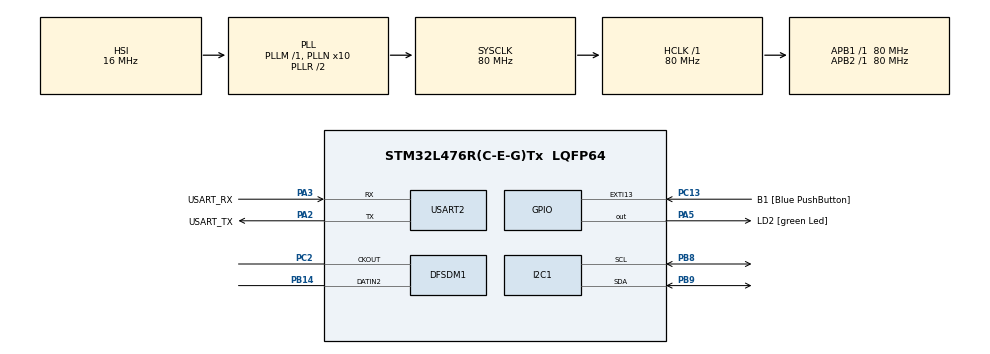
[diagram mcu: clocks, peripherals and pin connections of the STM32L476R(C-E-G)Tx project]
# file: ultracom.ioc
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DFSDM1.Divider=25
DFSDM1.DmaMode_reg_FIL0=ENABLE
DFSDM1.DmaMode_reg_FIL2=ENABLE
DFSDM1.FastMode_reg_FIL0=ENABLE
DFSDM1.FastMode_reg_FIL2=ENABLE
DFSDM1.Filter_regChannel_FIL0=DFSDM_CHANNEL_2
DFSDM1.Filter_regChannel_FIL1=__NULL
DFSDM1.Filter_regChannel_FIL2=DFSDM_CHANNEL_2
DFSDM1.Fosr_FIL0=32
DFSDM1.Fosr_FIL2=32
DFSDM1.Oversampling_CH1=10
DFSDM1.Oversampling_CH2=10
DFSDM1.RightBitShift_CH1=0x02
DFSDM1.RightBitShift_CH2=0x02
DFSDM1.SincOrder_FIL0=DFSDM_FILTER_SINC3_ORDER
DFSDM1.SincOrder_FIL2=DFSDM_FILTER_SINC3_ORDER
DFSDM1.Type_spi_CH1=DFSDM_CHANNEL_SPI_FALLING
Dma.DFSDM1_FLT0.0.Direction=DMA_PERIPH_TO_MEMORY
Dma.DFSDM1_FLT0.0.Instance=DMA1_Channel4
Dma.DFSDM1_FLT0.0.MemDataAlignment=DMA_MDATAALIGN_WORD
Dma.DFSDM1_FLT0.0.MemInc=DMA_MINC_ENABLE
Dma.DFSDM1_FLT0.0.Mode=DMA_CIRCULAR
Dma.DFSDM1_FLT0.0.PeriphDataAlignment=DMA_PDATAALIGN_WORD
Dma.DFSDM1_FLT0.0.PeriphInc=DMA_PINC_DISABLE
Dma.DFSDM1_FLT0.0.Priority=DMA_PRIORITY_MEDIUM
Dma.DFSDM1_FLT2.1.Direction=DMA_PERIPH_TO_MEMORY
Dma.DFSDM1_FLT2.1.Instance=DMA1_Channel6
Dma.DFSDM1_FLT2.1.MemDataAlignment=DMA_MDATAALIGN_WORD
Dma.DFSDM1_FLT2.1.MemInc=DMA_MINC_ENABLE
Dma.DFSDM1_FLT2.1.Mode=DMA_CIRCULAR
Dma.DFSDM1_FLT2.1.PeriphDataAlignment=DMA_PDATAALIGN_WORD
Dma.DFSDM1_FLT2.1.PeriphInc=DMA_PINC_DISABLE
Dma.DFSDM1_FLT2.1.Priority=DMA_PRIORITY_MEDIUM
Dma.Request0=DFSDM1_FLT0
Dma.Request1=DFSDM1_FLT2
Mcu.Family=STM32L4
Mcu.Name=STM32L476R(C-E-G)Tx
Mcu.Package=LQFP64
NVIC.DMA1_Channel4_IRQn=true\:0\:0\:false\:false\:true\:false
NVIC.DMA1_Channel6_IRQn=true\:0\:0\:false\:false\:true\:false
NVIC.EXTI15_10_IRQn=true\:0\:0\:false\:false\:true\:true
NVIC.PriorityGroup=NVIC_PRIORITYGROUP_4
PA13\ (JTMS-SWDIO).GPIO_Label=TMS
PA13\ (JTMS-SWDIO).Mode=Serial_Wire
PA13\ (JTMS-SWDIO).Signal=SYS_JTMS-SWDIO
PA14\ (JTCK-SWCLK).GPIO_Label=TCK
PA14\ (JTCK-SWCLK).Mode=Serial_Wire
PA14\ (JTCK-SWCLK).Signal=SYS_JTCK-SWCLK
PA2.GPIO_Label=USART_TX
PA2.GPIO_Mode=GPIO_MODE_AF_PP
PA2.GPIO_PuPd=GPIO_NOPULL
PA2.GPIO_Speed=GPIO_SPEED_FREQ_VERY_HIGH
PA2.Mode=Asynchronous
PA2.Signal=USART2_TX
PA3.GPIO_Label=USART_RX
PA3.GPIO_Mode=GPIO_MODE_AF_PP
PA3.GPIO_PuPd=GPIO_NOPULL
PA3.GPIO_Speed=GPIO_SPEED_FREQ_VERY_HIGH
PA3.Mode=Asynchronous
PA3.Signal=USART2_RX
PA5.GPIO_Label=LD2 [green Led]
PA5.GPIO_ModeDefaultOutputPP=GPIO_MODE_OUTPUT_PP
PA5.GPIO_PuPd=GPIO_NOPULL
PA5.GPIO_Speed=GPIO_SPEED_FREQ_LOW
PA5.Signal=GPIO_Output
PB14.Signal=S_DATAIN2DFSDM1
PB3\ (JTDO-TRACESWO).GPIO_Label=SWO
PB3\ (JTDO-TRACESWO).Signal=SYS_JTDO-SWO
PB8.Mode=I2C
PB8.Signal=I2C1_SCL
PB9.Mode=I2C
PB9.Signal=I2C1_SDA
PC13.GPIO_Label=B1 [Blue PushButton]
PC13.GPIO_ModeDefaultEXTI=GPIO_MODE_IT_FALLING
PC13.GPIO_PuPd=GPIO_NOPULL
PC13.Signal=GPXTI13
PC14-OSC32_IN\ (PC14).Signal=RCC_OSC32_IN
PC15-OSC32_OUT\ (PC15).Signal=RCC_OSC32_OUT
PC2.Signal=S_CKOUTDFSDM1
PH0-OSC_IN\ (PH0).Signal=RCC_OSC_IN
PH1-OSC_OUT\ (PH1).Signal=RCC_OSC_OUT
ProjectManager.HeapSize=0x200
ProjectManager.StackSize=0x400
ProjectManager.TargetToolchain=TrueSTUDIO
RCC.ADCFreq_Value=64000000
RCC.AHBFreq_Value=80000000
RCC.APB1Freq_Value=80000000
RCC.APB1TimFreq_Value=80000000
RCC.APB2Freq_Value=80000000
RCC.APB2TimFreq_Value=80000000
RCC.CortexFreq_Value=80000000
RCC.HCLKFreq_Value=80000000
RCC.HSE_VALUE=8000000
RCC.HSI_VALUE=16000000
RCC.LSE_VALUE=32768
RCC.MSI_VALUE=4000000
RCC.PLLN=10
RCC.PLLSourceVirtual=RCC_PLLSOURCE_HSI
RCC.PREFETCH_ENABLE=1
RCC.SYSCLKFreq_VALUE=80000000
RCC.SYSCLKSource=RCC_SYSCLKSOURCE_PLLCLK
RCC.USBFreq_Value=64000000
RCC.VCOOutputFreq_Value=160000000
SH.S_CKOUTDFSDM1.0=DFSDM1_CKOUT,PDM_SPI_input_from_ch2_and_internal_clock
SH.S_CKOUTDFSDM1.1=DFSDM1_CKOUT,CKOUT
SH.S_CKOUTDFSDM1.2=DFSDM1_CKOUT,PDM_SPI_Input_from_ch12_and_Internal_Clock
SH.S_DATAIN2DFSDM1.0=DFSDM1_DATIN2,PDM_SPI_input_from_ch2_and_internal_clock
SH.S_DATAIN2DFSDM1.1=DFSDM1_DATIN2,PDM_SPI_Input_from_ch12_and_Internal_Clock
USART2.VirtualMode-Asynchronous=VM_ASYNC
USART2.WordLength=WORDLENGTH_8B
board=NUCLEO-L476RG

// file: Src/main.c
/**
  ******************************************************************************
  * @file           : main.c
  * @brief          : Main program body
  ******************************************************************************
  ** This notice applies to any and all portions of this file
  * that are not between comment pairs USER CODE BEGIN and
  * USER CODE END. Other portions of this file, whether
  * inserted by the user or by software development tools
  * are owned by their respective copyright owners.
  *
  * COPYRIGHT(c) 2018 STMicroelectronics
  *
  * Redistribution and use in source and binary forms, with or without modification,
  * are permitted provided that the following conditions are met:
  *   1. Redistributions of source code must retain the above copyright notice,
  *      this list of conditions and the following disclaimer.
  *   2. Redistributions in binary form must reproduce the above copyright notice,
  *      this list of conditions and the following disclaimer in the documentation
  *      and/or other materials provided with the distribution.
  *   3. Neither the name of STMicroelectronics nor the names of its contributors
  *      may be used to endorse or promote products derived from this software
  *      without specific prior written permission.
  *
  * THIS SOFTWARE IS PROVIDED BY THE COPYRIGHT HOLDERS AND CONTRIBUTORS "AS IS"
  * AND ANY EXPRESS OR IMPLIED WARRANTIES, INCLUDING, BUT NOT LIMITED TO, THE
  * IMPLIED WARRANTIES OF MERCHANTABILITY AND FITNESS FOR A PARTICULAR PURPOSE ARE
  * DISCLAIMED. IN NO EVENT SHALL THE COPYRIGHT HOLDER OR CONTRIBUTORS BE LIABLE
  * FOR ANY DIRECT, INDIRECT, INCIDENTAL, SPECIAL, EXEMPLARY, OR CONSEQUENTIAL
  * DAMAGES (INCLUDING, BUT NOT LIMITED TO, PROCUREMENT OF SUBSTITUTE GOODS OR
  * SERVICES; LOSS OF USE, DATA, OR PROFITS; OR BUSINESS INTERRUPTION) HOWEVER
  * CAUSED AND ON ANY THEORY OF LIABILITY, WHETHER IN CONTRACT, STRICT LIABILITY,
  * OR TORT (INCLUDING NEGLIGENCE OR OTHERWISE) ARISING IN ANY WAY OUT OF THE USE
  * OF THIS SOFTWARE, EVEN IF ADVISED OF THE POSSIBILITY OF SUCH DAMAGE.
  *
  ******************************************************************************
  */
#include "main.h"
#include "stm32l4xx_hal.h"
#include "dfsdm.h"
#include "dma.h"
#include "i2c.h"
#include "usart.h"
#include "gpio.h"

/* USER CODE BEGIN Includes */
#include "math.h"
#include "stdbool.h"
#include "stdlib.h"
#include "arm_math.h"
#include "lcd.h"
/* USER CODE END Includes */

/* USER CODE BEGIN PV */
/* Private variables ---------------------------------------------------------*/

// Flags to indicate ISR to copy data from buffer to PCM data store for FFT
char M1[] = "M1";  // MEMS mic 1
char M2[] = "M2";  // MEMS mic 2

char *mic_select;
bool flag_m1 = true;
bool flag_m2 = true;

// Audio sample rate and period
float sampling_rate;
float sampling_period;

// DMA peripheral to memory buffer
int32_t buf[PCM_SAMPLES] = { 0 };
int32_t buf_m2[PCM_SAMPLES] = { 0 };

// PCM data store for further processing (FFT)
int32_t pcm[PCM_SAMPLES] = { 0 };
int32_t pcm_m2[PCM_SAMPLES] = { 0 };

// FFT
arm_rfft_fast_instance_f32 S;

// Ultrasonic communication
typedef struct {
  uint8_t data;
  float magnitude;
  float frequency;
} Result;

uint16_t symbols[] = {
HEX_0, HEX_1, HEX_2, HEX_3, HEX_4, HEX_5, HEX_6, HEX_7,
HEX_8, HEX_9, HEX_A, HEX_B, HEX_C, HEX_D, HEX_E, HEX_F };

/* USER CODE END PV */

void SystemClock_Config(void);

/* USER CODE BEGIN PFP */
/* Private function prototypes -----------------------------------------------*/

/* USER CODE END PFP */

/* USER CODE BEGIN 0 */

/**
 * @brief  FFT to frequency at max magnitude
 * @param
 * @retval result including max frequency and max magnitude.
 */
void fft(float *input, float *output, float *window, float *magnitude,
    float *frequency, Result *result) {

  // Windowing
  arm_mult_f32(input, window, input, PCM_SAMPLES);

  // Execute FFT
  arm_rfft_fast_f32(&S, input, output, 0);

  // Calculate magnitude
  arm_cmplx_mag_f32(output, magnitude, PCM_SAMPLES / 2);

  // Normalization (Unitary transformation) of magnitude
  arm_scale_f32(magnitude, 1.0f / sqrtf((float) PCM_SAMPLES), magnitude,
  PCM_SAMPLES / 2);

  // Calculate max magnitude
  //arm_max_f32(magnitude, FFT_SAMPLES / 2, &mag_max, &maxIndex);
  bool found = false;
  uint16_t i, j;
  for (j = START_OF_FRAME - TOLERANCE; j <= START_OF_FRAME + TOLERANCE; j++) {
    if (magnitude[j] > MAGNITUDE_THRESHOLD) {
      found = true;
      result->data = START_OF_FRAME_CODE;
      result->magnitude = magnitude[j];
      result->frequency = frequency[j + 1];
      break;
    }
  }
  if (!found) {
    for (j = END_OF_FRAME - TOLERANCE; j <= END_OF_FRAME + TOLERANCE; j++) {
      if (magnitude[j] > MAGNITUDE_THRESHOLD) {
        found = true;
        result->data = END_OF_FRAME_CODE;
        result->magnitude = magnitude[j];
        result->frequency = frequency[j + 1];
        break;
      }
    }
  }
  if (!found) {
    for (i = 0; i < 16; i++) {
      for (j = symbols[i] - TOLERANCE; j <= symbols[i] + TOLERANCE; j++) {
        if (magnitude[j] > MAGNITUDE_THRESHOLD) {
          found = true;
          result->data = i;
          result->magnitude = magnitude[j];
          result->frequency = frequency[j + 1];
          break;
        }
      }
      if (found) {
        break;
      }
    }
  }
  if (!found) {
    result->data = NOT_FOUND_CODE;
  }

}
/**
 * @brief  Parse fft result to output received data in ASCII to USART and LCD
 * @param  result
 * @retval
 */
void parser(Result *result) {

  bool output_result = false;
  static enum {
    IDLE, DATA_MSB, DATA_LSB
  } recv_state = IDLE;

  uint8_t data;
  static uint8_t hex_data_n = NOT_FOUND_CODE;
  static uint8_t data_cnt = 0;
  static uint8_t data_msb = 0;
  uint8_t data_char[1] = { '\0' };

  data = result -> data;
  // Convert frequency to hex data
  if (data != hex_data_n) {
    data_cnt = 0;
    hex_data_n = data;
  } else if (data_cnt == TQ_N) {
    // No operation
  } else if (++data_cnt == TQ_N && hex_data_n != NOT_FOUND_CODE) {
    output_result = true;
  }

  if (output_result) {
    /*
    printf("\nMEMS mic: %s\n", mic_select);
    */
    printf("Frequency: %ld, Magnitude: %ld\n", (uint32_t)result->frequency,
        (uint32_t)result->magnitude);

    switch (hex_data_n) {
    case START_OF_FRAME_CODE:
      printf("START OF FRAME\n");
      lcd_clear();
      recv_state = DATA_MSB;
      break;
    case END_OF_FRAME_CODE:
      printf("END OF FRAME\n");
      recv_state = IDLE;
      break;
    default:
      if (recv_state == DATA_MSB) {
        data_msb = hex_data_n << 4;
        recv_state = DATA_LSB;
      } else if (recv_state == DATA_LSB) {
        printf("Data: %c\n", data_msb + hex_data_n);
        data_char[0] = data_msb + hex_data_n;
        lcd_string(data_char, 1);
        data_msb = 0;
        recv_state = DATA_MSB;
      }
      break;
    }
    //printf("[%d]\n", hex_data_n);
    HAL_GPIO_TogglePin(LD2_GPIO_Port, LD2_Pin);
    output_result = false;
  }
}
/* USER CODE END 0 */

int main(void)
{
  /* USER CODE BEGIN 1 */
  float fft_input[PCM_SAMPLES] = { 0.0f };
  float fft_output[PCM_SAMPLES] = { 0.0f };
  float fft_frequency[PCM_SAMPLES / 2] = { 0.0f };
  float fft_magnitude[PCM_SAMPLES / 2] = { 0.0f };
  float fft_window[PCM_SAMPLES] = { 0.0f };
  const float WINDOW_SCALE = 2.0f * M_PI / (float) PCM_SAMPLES;

  Result result;
  /* USER CODE END 1 */

  /* MCU Configuration----------------------------------------------------------*/

  /* Reset of all peripherals, Initializes the Flash interface and the Systick. */
  HAL_Init();

  /* Configure the system clock */
  SystemClock_Config();

  /* Initialize all configured peripherals */
  MX_GPIO_Init();
  MX_DMA_Init();
  MX_USART2_UART_Init();
  MX_DFSDM1_Init();
  MX_I2C1_Init();
  /* USER CODE BEGIN 2 */

  // DMA from DFSDM to buf_m1
  if (HAL_DFSDM_FilterRegularStart_DMA(&hdfsdm1_filter0, buf, PCM_SAMPLES)
      != HAL_OK) {
    Error_Handler();
  }

  // DMA from DFSDM to buf_m2
  if (HAL_DFSDM_FilterRegularStart_DMA(&hdfsdm1_filter2, buf_m2, PCM_SAMPLES)
      != HAL_OK) {
    Error_Handler();
  }

  // FFT sample rate
  sampling_rate = SystemCoreClock / hdfsdm1_channel2.Init.OutputClock.Divider
      / hdfsdm1_filter0.Init.FilterParam.Oversampling
      / hdfsdm1_filter0.Init.FilterParam.IntOversampling;

  // Output basic info
  printf("/// Ultrasonic communication receiver ///\n\n");
  printf("Sampling rate: %4.1f(kHz)\n", (float) sampling_rate / 1000.0f);
  sampling_period = 1.0f / sampling_rate * PCM_SAMPLES;
  printf("Sampling period: %.1f(msec), Samples per period: %ld\n\n",
      sampling_period * 1000.0f, PCM_SAMPLES);
  lcd_init(&hi2c1);
  lcd_string((uint8_t*)"Ultrasonic", 10);

  // Hanning window
  for (uint32_t i = 0; i < PCM_SAMPLES; i++) {
    fft_window[i] = 0.5f - 0.5f * arm_cos_f32((float) i * WINDOW_SCALE);
  }

  for (uint32_t i = 0; i < PCM_SAMPLES / 2; i++) {
    fft_frequency[i] = (float) i * (float) sampling_rate / (float) PCM_SAMPLES;
  }

  // FFT initialization
  arm_rfft_fast_init_f32(&S, PCM_SAMPLES);
  /* USER CODE END 2 */

  /* Infinite loop */
  /* USER CODE BEGIN WHILE */
  while (1) {

    // Wait for next PCM samples from M1
    if (!flag_m1) {
      for (uint32_t i = 0; i < PCM_SAMPLES; i++) {
        fft_input[i] = (float) pcm[i];
      }
      mic_select = M1;
      fft(fft_input, fft_output, fft_window, fft_magnitude, fft_frequency,
          &result);
      parser(&result);
      flag_m1 = true;
    }

    // Wait for next PCM samples from M2
    if (!flag_m2) {
      /*
      for (uint32_t i = 0; i < FFT_SAMPLES; i++) {
        fft_input[i] = (float) pcm_m2[i];
      }
      mic_select = M2;
      fft(fft_input, fft_output, fft_window, fft_magnitude, fft_frequency,
          &result);
      parser(&result);
      */
      flag_m2 = true;
    }

  /* USER CODE END WHILE */

  }

}

void SystemClock_Config(void)
{

  RCC_OscInitTypeDef RCC_OscInitStruct;
  RCC_ClkInitTypeDef RCC_ClkInitStruct;
  RCC_PeriphCLKInitTypeDef PeriphClkInit;

    /**Initializes the CPU, AHB and APB busses clocks
    */
  RCC_OscInitStruct.OscillatorType = RCC_OSCILLATORTYPE_HSI;
  RCC_OscInitStruct.HSIState = RCC_HSI_ON;
  RCC_OscInitStruct.HSICalibrationValue = 16;
  RCC_OscInitStruct.PLL.PLLState = RCC_PLL_ON;
  RCC_OscInitStruct.PLL.PLLSource = RCC_PLLSOURCE_HSI;
  RCC_OscInitStruct.PLL.PLLM = 1;
  RCC_OscInitStruct.PLL.PLLN = 10;
  RCC_OscInitStruct.PLL.PLLP = RCC_PLLP_DIV7;
  RCC_OscInitStruct.PLL.PLLQ = RCC_PLLQ_DIV2;
  RCC_OscInitStruct.PLL.PLLR = RCC_PLLR_DIV2;
  if (HAL_RCC_OscConfig(&RCC_OscInitStruct) != HAL_OK)
  {
    _Error_Handler(__FILE__, __LINE__);
  }

    /**Initializes the CPU, AHB and APB busses clocks
    */
  RCC_ClkInitStruct.ClockType = RCC_CLOCKTYPE_HCLK|RCC_CLOCKTYPE_SYSCLK
                              |RCC_CLOCKTYPE_PCLK1|RCC_CLOCKTYPE_PCLK2;
  RCC_ClkInitStruct.SYSCLKSource = RCC_SYSCLKSOURCE_PLLCLK;
  RCC_ClkInitStruct.AHBCLKDivider = RCC_SYSCLK_DIV1;
  RCC_ClkInitStruct.APB1CLKDivider = RCC_HCLK_DIV1;
  RCC_ClkInitStruct.APB2CLKDivider = RCC_HCLK_DIV1;

  if (HAL_RCC_ClockConfig(&RCC_ClkInitStruct, FLASH_LATENCY_4) != HAL_OK)
  {
    _Error_Handler(__FILE__, __LINE__);
  }

  PeriphClkInit.PeriphClockSelection = RCC_PERIPHCLK_USART2|RCC_PERIPHCLK_I2C1
                              |RCC_PERIPHCLK_DFSDM1;
  PeriphClkInit.Usart2ClockSelection = RCC_USART2CLKSOURCE_PCLK1;
  PeriphClkInit.I2c1ClockSelection = RCC_I2C1CLKSOURCE_PCLK1;
  PeriphClkInit.Dfsdm1ClockSelection = RCC_DFSDM1CLKSOURCE_PCLK;
  if (HAL_RCCEx_PeriphCLKConfig(&PeriphClkInit) != HAL_OK)
  {
    _Error_Handler(__FILE__, __LINE__);
  }

    /**Configure the main internal regulator output voltage
    */
  if (HAL_PWREx_ControlVoltageScaling(PWR_REGULATOR_VOLTAGE_SCALE1) != HAL_OK)
  {
    _Error_Handler(__FILE__, __LINE__);
  }

    /**Configure the Systick interrupt time
    */
  HAL_SYSTICK_Config(HAL_RCC_GetHCLKFreq()/1000);

    /**Configure the Systick
    */
  HAL_SYSTICK_CLKSourceConfig(SYSTICK_CLKSOURCE_HCLK);

  /* SysTick_IRQn interrupt configuration */
  HAL_NVIC_SetPriority(SysTick_IRQn, 0, 0);
}

/* USER CODE BEGIN 4 */

/**
 * @brief  Half regular conversion complete callback.
 * @param  hdfsdm_filter : DFSDM filter handle.
 * @retval None
 */
void HAL_DFSDM_FilterRegConvHalfCpltCallback(
    DFSDM_Filter_HandleTypeDef *hdfsdm_filter) {
  //
}

/**
 * @brief  Regular conversion complete callback.
 * @note   In interrupt mode, user has to read conversion value in this function
 using HAL_DFSDM_FilterGetRegularValue.
 * @param  hdfsdm_filter : DFSDM filter handle.
 * @retval None
 */
void HAL_DFSDM_FilterRegConvCpltCallback(
    DFSDM_Filter_HandleTypeDef *hdfsdm_filter) {
  // uint32_t start = FFT_SAMPLES / 2;
  uint32_t start = 0;
  if (flag_m1 && (hdfsdm_filter == &hdfsdm1_filter0)) {
    for (uint32_t i = start; i < PCM_SAMPLES; i++) {
      pcm[i] = buf[i];
    }
    flag_m1 = false;
  } else if (flag_m2 && (hdfsdm_filter == &hdfsdm1_filter2)) {
    for (uint32_t i = start; i < PCM_SAMPLES; i++) {
      pcm_m2[i] = buf_m2[i];
    }
    flag_m2 = false;
  }
}

/**
 * @brief  Retargets the C library printf function to the USART.
 * @param  None
 * @retval None
 */
int _write(int file, char *ptr, int len) {
  HAL_UART_Transmit(&huart2, (uint8_t *) ptr, (uint16_t) len, 1000);
  return len;
}

/**
 * @brief  GPIO External Interrupt callback
 * @param  GPIO_Pin
 * @retval None
 */
void HAL_GPIO_EXTI_Callback(uint16_t GPIO_Pin) {
  if (GPIO_Pin == GPIO_PIN_13) {  // User button (blue tactile switch)
    //
  }
}
/* USER CODE END 4 */

void _Error_Handler(char *file, int line)
{
  while (1) {
  }
}

/************************ (C) COPYRIGHT STMicroelectronics *****END OF FILE****/
